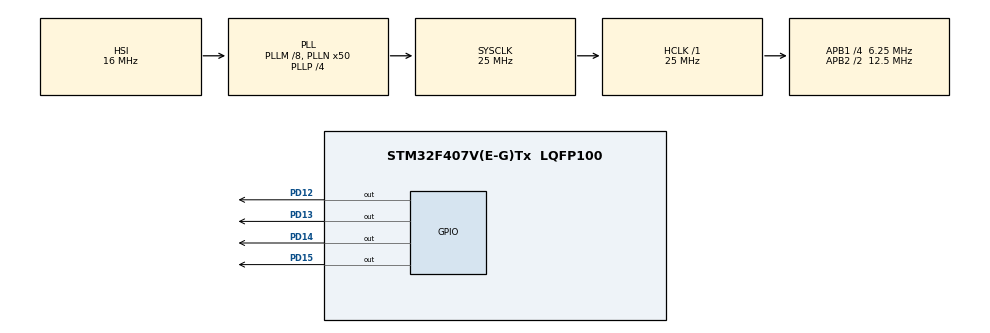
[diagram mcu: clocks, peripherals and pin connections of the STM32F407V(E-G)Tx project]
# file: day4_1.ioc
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FREERTOS.INCLUDE_vTaskDelayUntil=1
FREERTOS.Tasks01=defaultTask,0,128,StartDefaultTask,Default,NULL,Dynamic,NULL,NULL;myTask02,-3,128,StartTask02,Default,NULL,Dynamic,NULL,NULL
FREERTOS.configUSE_NEWLIB_REENTRANT=1
Mcu.Family=STM32F4
Mcu.Name=STM32F407V(E-G)Tx
Mcu.Package=LQFP100
NVIC.PriorityGroup=NVIC_PRIORITYGROUP_4
NVIC.TIM1_UP_TIM10_IRQn=true\:15\:0\:false\:false\:true\:false\:false\:true\:true
NVIC.TimeBase=TIM1_UP_TIM10_IRQn
NVIC.TimeBaseIP=TIM1
PD12.Signal=GPIO_Output
PD13.Signal=GPIO_Output
PD14.Signal=GPIO_Output
PD15.Signal=GPIO_Output
ProjectManager.HeapSize=0x200
ProjectManager.StackSize=0x400
ProjectManager.TargetToolchain=STM32CubeIDE
RCC.48MHZClocksFreq_Value=14285714.285714285
RCC.AHBFreq_Value=25000000
RCC.APB1CLKDivider=RCC_HCLK_DIV4
RCC.APB1Freq_Value=6250000
RCC.APB1TimFreq_Value=12500000
RCC.APB2CLKDivider=RCC_HCLK_DIV2
RCC.APB2Freq_Value=12500000
RCC.APB2TimFreq_Value=25000000
RCC.CortexFreq_Value=25000000
RCC.HCLKFreq_Value=25000000
RCC.HSE_VALUE=8000000
RCC.HSI_VALUE=16000000
RCC.LSE_VALUE=32768
RCC.PLLM=8
RCC.PLLN=50
RCC.PLLP=RCC_PLLP_DIV4
RCC.PLLQ=7
RCC.SYSCLKFreq_VALUE=25000000
RCC.SYSCLKSource=RCC_SYSCLKSOURCE_PLLCLK
RCC.VCOOutputFreq_Value=100000000
VP_FREERTOS_VS_CMSIS_V1.Mode=CMSIS_V1
VP_SYS_VS_tim1.Mode=TIM1
board=STM32F407G-DISC1

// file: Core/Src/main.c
/* USER CODE BEGIN Header */
/**
  ******************************************************************************
  * @file           : main.c
  * @brief          : Main program body
  ******************************************************************************
  * @attention
  *
  * Copyright (c) 2024 STMicroelectronics.
  * All rights reserved.
  *
  * This software is licensed under terms that can be found in the LICENSE file
  * in the root directory of this software component.
  * If no LICENSE file comes with this software, it is provided AS-IS.
  *
  ******************************************************************************
  */
/* USER CODE END Header */
#include "main.h"
#include "cmsis_os.h"

osThreadId defaultTaskHandle;
osThreadId myTask02Handle;

void SystemClock_Config(void);
static void MX_GPIO_Init(void);
void StartDefaultTask(void const * argument);
void StartTask02(void const * argument);

/* USER CODE BEGIN 0 */
void vLedTask1(void *pvParam)
{
	portTickType xLastWakeupTime = xTaskGetTickCount();
	while(1)
	{
		HAL_GPIO_TogglePin(GPIOD, GPIO_PIN_12);
		vTaskDelayUntil(&xLastWakeupTime, 1000 / portTICK_RATE_MS);
	}
	vTaskDelete(NULL);
}

void vLedTask2(void *pvParam)
{
	portTickType xLastWakeupTime = xTaskGetTickCount();
	while(1)
	{
		HAL_GPIO_TogglePin(GPIOD, GPIO_PIN_13);
		vTaskDelayUntil(&xLastWakeupTime, 4000 / portTICK_RATE_MS);
	}
	vTaskDelete(NULL);
}

void vLedTask3(void *pvParam)
{
	portTickType xLastWakeupTime = xTaskGetTickCount();
	while(1)
	{
		HAL_GPIO_TogglePin(GPIOD, GPIO_PIN_14);
		vTaskDelayUntil(&xLastWakeupTime, 7000 / portTICK_RATE_MS);
	}
	vTaskDelete(NULL);
}

void vLedTask4(void *pvParam)
{
	portTickType xLastWakeupTime = xTaskGetTickCount();
	while(1)
	{
		HAL_GPIO_TogglePin(GPIOD, GPIO_PIN_15);
		vTaskDelayUntil(&xLastWakeupTime, 10000 / portTICK_RATE_MS);
	}
	vTaskDelete(NULL);
}
/* USER CODE END 0 */

int main(void)
{

  /* USER CODE BEGIN 1 */
	BaseType_t xRet;
  /* USER CODE END 1 */

  /* MCU Configuration--------------------------------------------------------*/

  /* Reset of all peripherals, Initializes the Flash interface and the Systick. */
  HAL_Init();

  /* Configure the system clock */
  SystemClock_Config();

  /* Initialize all configured peripherals */
  MX_GPIO_Init();

  /* Create the thread(s) */
  /* definition and creation of defaultTask */
  osThreadDef(defaultTask, StartDefaultTask, osPriorityNormal, 0, 128);
  defaultTaskHandle = osThreadCreate(osThread(defaultTask), NULL);

  /* definition and creation of myTask02 */
  osThreadDef(myTask02, StartTask02, osPriorityIdle, 0, 128);
  myTask02Handle = osThreadCreate(osThread(myTask02), NULL);

  /* USER CODE BEGIN RTOS_THREADS */
  /* add threads, ... */
  xRet = xTaskCreate(vLedTask1, "LED Task", configMINIMAL_STACK_SIZE, NULL, 4, NULL);
  if(xRet != pdTRUE)
	  Error_Handler();

  xRet = xTaskCreate(vLedTask2, "LED Task", configMINIMAL_STACK_SIZE, NULL, 4, NULL);
    if(xRet != pdTRUE)
  	  Error_Handler();

  xRet = xTaskCreate(vLedTask3, "LED Task", configMINIMAL_STACK_SIZE, NULL, 4, NULL);
      if(xRet != pdTRUE)
    	  Error_Handler();

  xRet = xTaskCreate(vLedTask4, "LED Task", configMINIMAL_STACK_SIZE, NULL, 4, NULL);
        if(xRet != pdTRUE)
      	  Error_Handler();
  /* USER CODE END RTOS_THREADS */

  /* Start scheduler */
  osKernelStart();

  /* We should never get here as control is now taken by the scheduler */

  /* Infinite loop */
  while (1)
  {

  }
}

void SystemClock_Config(void)
{
  RCC_OscInitTypeDef RCC_OscInitStruct = {0};
  RCC_ClkInitTypeDef RCC_ClkInitStruct = {0};

  /** Configure the main internal regulator output voltage
  */
  __HAL_RCC_PWR_CLK_ENABLE();
  __HAL_PWR_VOLTAGESCALING_CONFIG(PWR_REGULATOR_VOLTAGE_SCALE1);

  /** Initializes the RCC Oscillators according to the specified parameters
  * in the RCC_OscInitTypeDef structure.
  */
  RCC_OscInitStruct.OscillatorType = RCC_OSCILLATORTYPE_HSI;
  RCC_OscInitStruct.HSIState = RCC_HSI_ON;
  RCC_OscInitStruct.HSICalibrationValue = RCC_HSICALIBRATION_DEFAULT;
  RCC_OscInitStruct.PLL.PLLState = RCC_PLL_ON;
  RCC_OscInitStruct.PLL.PLLSource = RCC_PLLSOURCE_HSI;
  RCC_OscInitStruct.PLL.PLLM = 8;
  RCC_OscInitStruct.PLL.PLLN = 50;
  RCC_OscInitStruct.PLL.PLLP = RCC_PLLP_DIV4;
  RCC_OscInitStruct.PLL.PLLQ = 7;
  if (HAL_RCC_OscConfig(&RCC_OscInitStruct) != HAL_OK)
  {
    Error_Handler();
  }

  /** Initializes the CPU, AHB and APB buses clocks
  */
  RCC_ClkInitStruct.ClockType = RCC_CLOCKTYPE_HCLK|RCC_CLOCKTYPE_SYSCLK
                              |RCC_CLOCKTYPE_PCLK1|RCC_CLOCKTYPE_PCLK2;
  RCC_ClkInitStruct.SYSCLKSource = RCC_SYSCLKSOURCE_PLLCLK;
  RCC_ClkInitStruct.AHBCLKDivider = RCC_SYSCLK_DIV1;
  RCC_ClkInitStruct.APB1CLKDivider = RCC_HCLK_DIV4;
  RCC_ClkInitStruct.APB2CLKDivider = RCC_HCLK_DIV2;

  if (HAL_RCC_ClockConfig(&RCC_ClkInitStruct, FLASH_LATENCY_0) != HAL_OK)
  {
    Error_Handler();
  }
}

static void MX_GPIO_Init(void)
{
  GPIO_InitTypeDef GPIO_InitStruct = {0};

  /* GPIO Ports Clock Enable */
  __HAL_RCC_GPIOD_CLK_ENABLE();

  /*Configure GPIO pin Output Level */
  HAL_GPIO_WritePin(GPIOD, GPIO_PIN_12|GPIO_PIN_13|GPIO_PIN_14|GPIO_PIN_15, GPIO_PIN_RESET);

  /*Configure GPIO pins : PD12 PD13 PD14 PD15 */
  GPIO_InitStruct.Pin = GPIO_PIN_12|GPIO_PIN_13|GPIO_PIN_14|GPIO_PIN_15;
  GPIO_InitStruct.Mode = GPIO_MODE_OUTPUT_PP;
  GPIO_InitStruct.Pull = GPIO_NOPULL;
  GPIO_InitStruct.Speed = GPIO_SPEED_FREQ_LOW;
  HAL_GPIO_Init(GPIOD, &GPIO_InitStruct);

}

void StartDefaultTask(void const * argument)
{
  for(;;)
  {
    osDelay(1);
  }
}

void StartTask02(void const * argument)
{
  for(;;)
  {
    osDelay(1);
  }
}

void HAL_TIM_PeriodElapsedCallback(TIM_HandleTypeDef *htim)
{
  if (htim->Instance == TIM1) {
    HAL_IncTick();
  }
}

void Error_Handler(void)
{
  __disable_irq();
  while (1)
  {
  }
}
